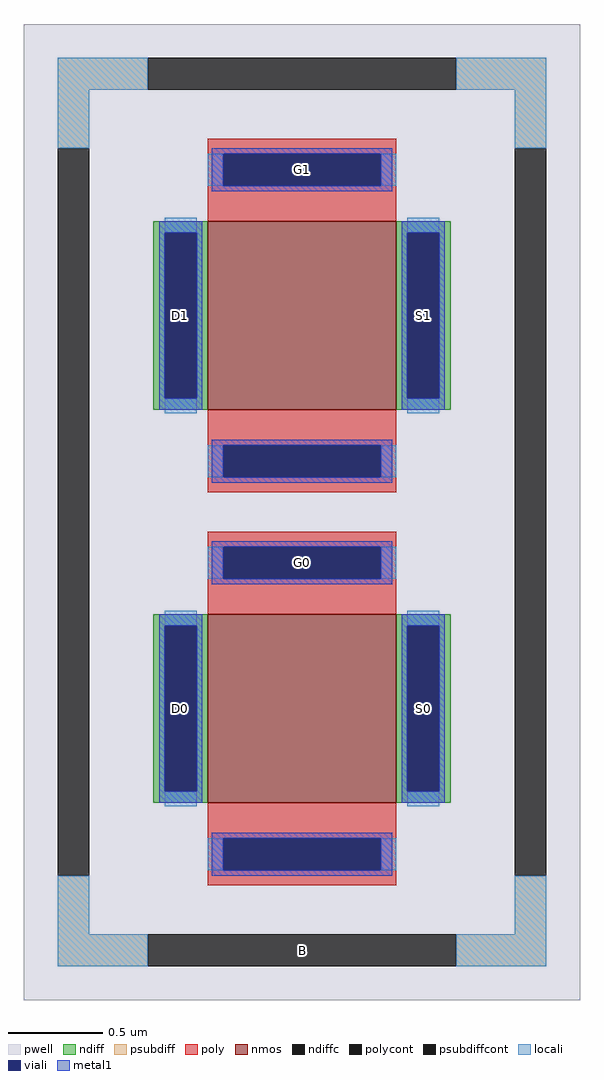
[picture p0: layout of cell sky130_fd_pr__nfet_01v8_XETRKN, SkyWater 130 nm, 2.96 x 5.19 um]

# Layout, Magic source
magic
tech sky130A
magscale 1 2
<< pwell >>
rect -296 -519 296 519
<< nmos >>
rect -100 109 100 309
rect -100 -309 100 -109
<< ndiff >>
rect -158 297 -100 309
rect -158 121 -146 297
rect -112 121 -100 297
rect -158 109 -100 121
rect 100 297 158 309
rect 100 121 112 297
rect 146 121 158 297
rect 100 109 158 121
rect -158 -121 -100 -109
rect -158 -297 -146 -121
rect -112 -297 -100 -121
rect -158 -309 -100 -297
rect 100 -121 158 -109
rect 100 -297 112 -121
rect 146 -297 158 -121
rect 100 -309 158 -297
<< ndiffc >>
rect -146 121 -112 297
rect 112 121 146 297
rect -146 -297 -112 -121
rect 112 -297 146 -121
<< psubdiff >>
rect -260 449 -164 483
rect 164 449 260 483
rect -260 387 -226 449
rect 226 387 260 449
rect -260 -449 -226 -387
rect 226 -449 260 -387
rect -260 -483 -164 -449
rect 164 -483 260 -449
<< psubdiffcont >>
rect -164 449 164 483
rect -260 -387 -226 387
rect 226 -387 260 387
rect -164 -483 164 -449
<< poly >>
rect -100 381 100 397
rect -100 347 -84 381
rect 84 347 100 381
rect -100 309 100 347
rect -100 71 100 109
rect -100 37 -84 71
rect 84 37 100 71
rect -100 21 100 37
rect -100 -37 100 -21
rect -100 -71 -84 -37
rect 84 -71 100 -37
rect -100 -109 100 -71
rect -100 -347 100 -309
rect -100 -381 -84 -347
rect 84 -381 100 -347
rect -100 -397 100 -381
<< polycont >>
rect -84 347 84 381
rect -84 37 84 71
rect -84 -71 84 -37
rect -84 -381 84 -347
<< locali >>
rect -260 449 -164 483
rect 164 449 260 483
rect -260 387 -226 449
rect 226 387 260 449
rect -100 347 -84 381
rect 84 347 100 381
rect -146 297 -112 313
rect -146 105 -112 121
rect 112 297 146 313
rect 112 105 146 121
rect -100 37 -84 71
rect 84 37 100 71
rect -100 -71 -84 -37
rect 84 -71 100 -37
rect -146 -121 -112 -105
rect -146 -313 -112 -297
rect 112 -121 146 -105
rect 112 -313 146 -297
rect -100 -381 -84 -347
rect 84 -381 100 -347
rect -260 -449 -226 -387
rect 226 -449 260 -387
rect -260 -483 -164 -449
rect 164 -483 260 -449
<< viali >>
rect -84 347 84 381
rect -146 121 -112 297
rect 112 121 146 297
rect -84 37 84 71
rect -84 -71 84 -37
rect -146 -297 -112 -121
rect 112 -297 146 -121
rect -84 -381 84 -347
<< metal1 >>
rect -96 381 96 387
rect -96 347 -84 381
rect 84 347 96 381
rect -96 341 96 347
rect -152 297 -106 309
rect -152 121 -146 297
rect -112 121 -106 297
rect -152 109 -106 121
rect 106 297 152 309
rect 106 121 112 297
rect 146 121 152 297
rect 106 109 152 121
rect -96 71 96 77
rect -96 37 -84 71
rect 84 37 96 71
rect -96 31 96 37
rect -96 -37 96 -31
rect -96 -71 -84 -37
rect 84 -71 96 -37
rect -96 -77 96 -71
rect -152 -121 -106 -109
rect -152 -297 -146 -121
rect -112 -297 -106 -121
rect -152 -309 -106 -297
rect 106 -121 152 -109
rect 106 -297 112 -121
rect 146 -297 152 -121
rect 106 -309 152 -297
rect -96 -347 96 -341
rect -96 -381 -84 -347
rect 84 -381 96 -347
rect -96 -387 96 -381
<< labels >>
rlabel psubdiffcont 0 -466 0 -466 0 B
port 1 nsew
rlabel ndiffc -129 -209 -129 -209 0 D0
port 2 nsew
rlabel ndiffc 129 -209 129 -209 0 S0
port 3 nsew
rlabel polycont 0 -54 0 -54 0 G0
port 4 nsew
rlabel ndiffc -129 209 -129 209 0 D1
port 5 nsew
rlabel ndiffc 129 209 129 209 0 S1
port 6 nsew
rlabel polycont 0 364 0 364 0 G1
port 7 nsew
<< properties >>
string FIXED_BBOX -243 -466 243 466
string gencell sky130_fd_pr__nfet_01v8
string library sky130
string parameters w 1.0 l 1.0 m 2 nf 1 diffcov 100 polycov 100 guard 1 glc 1 grc 1 gtc 1 gbc 1 tbcov 100 rlcov 100 topc 1 botc 1 poverlap 0 doverlap 1 lmin 0.15 wmin 0.42 class mosfet compatible {sky130_fd_pr__nfet_01v8 sky130_fd_pr__nfet_01v8_lvt  sky130_fd_bs_flash__special_sonosfet_star  sky130_fd_pr__nfet_g5v0d10v5 sky130_fd_pr__nfet_05v0_nvt  sky130_fd_pr__nfet_03v3_nvt} full_metal 1 conn_gates 0 viasrc 100 viadrn 100 viagate 100 viagb 0 viagr 0 viagl 0 viagt 0 doports 1
<< end >>
